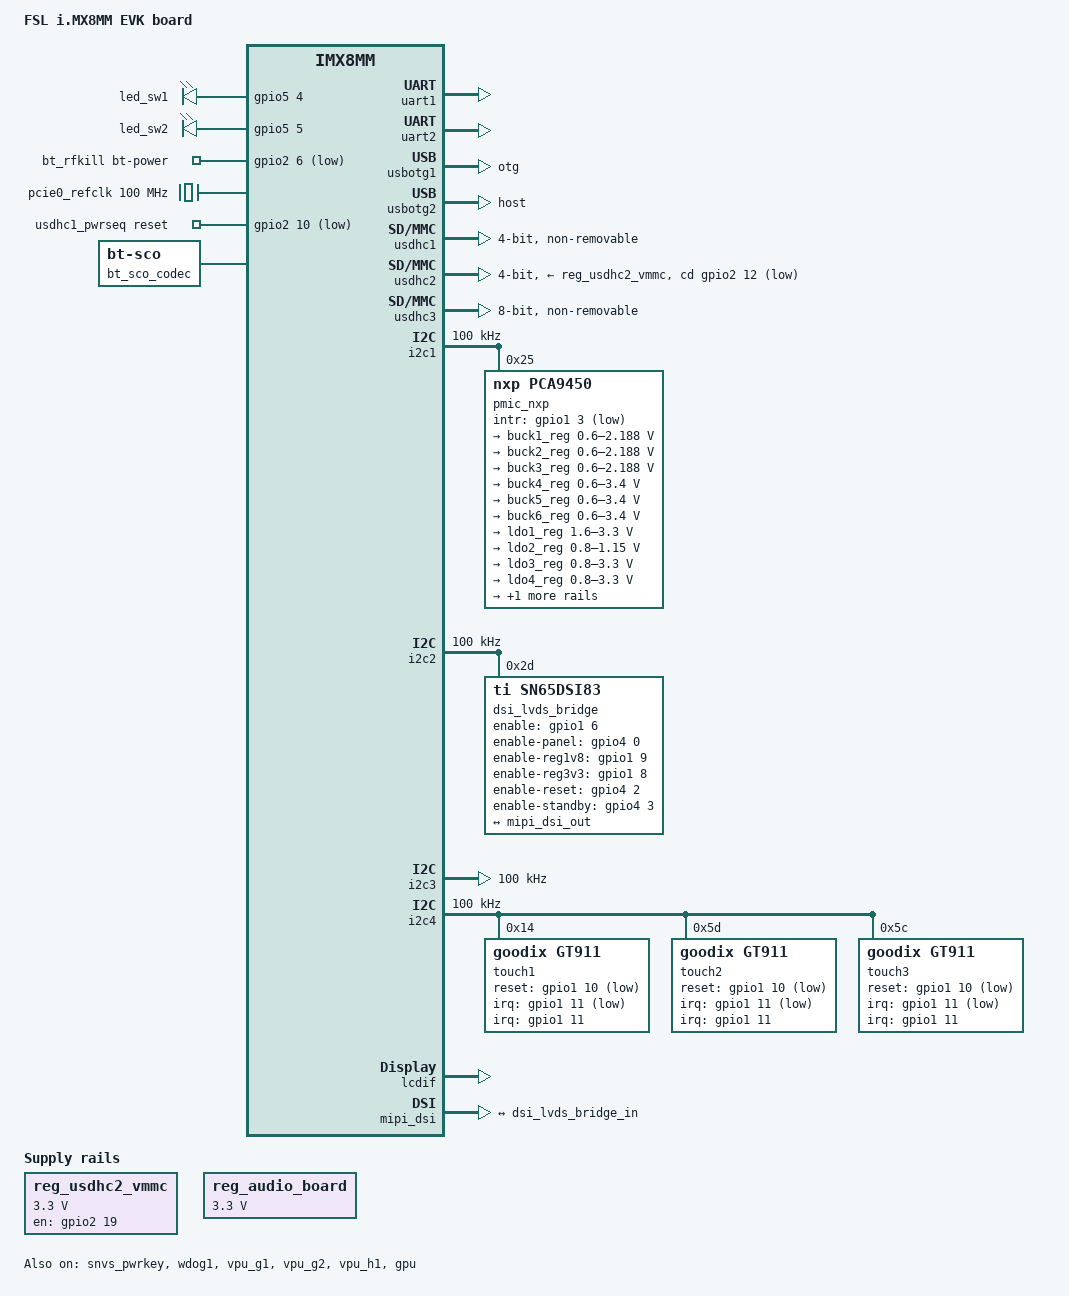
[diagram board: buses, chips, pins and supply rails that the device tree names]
// SPDX-License-Identifier: (GPL-2.0+ OR MIT)
/*
 * Copyright 2019 NXP
 */

/dts-v1/;

/*#include <dt-bindings/usb/pd.h>*/
#include "imx8mm.dtsi"

/ {
	firmware {
		android {
			compatible = "android,firmware";
			/* default emmc node used for GSI */
			boot_devices = "soc@0/soc@0:bus@30800000/30b60000.mmc";
			/* sd card node which used if androidboot.boot_device_root=mmcblk1 */
			boot_devices_mmcblk1 = "soc@0/soc@0:bus@30800000/30b50000.mmc";
			/* emmc node which used if androidboot.boot_device_root=mmcblk2 */
			boot_devices_mmcblk2 = "soc@0/soc@0:bus@30800000/30b60000.mmc";
			fstab {
				compatible = "android,fstab";
				system {
					compatible = "android,system";
					dev = "system";
					type = "ext4";
					mnt_flags = "noatime,errors=panic,ro,barrier=1,inode_readahead_blks=8";
					fsmgr_flags = "wait,slotselect,avb,avb_keys=/avb,logical,first_stage_mount";
				};
				vendor {
					compatible = "android,vendor";
					dev = "vendor";
					type = "ext4";
					mnt_flags = "noatime,errors=panic,ro,barrier=1,inode_readahead_blks=8";
					fsmgr_flags = "wait,slotselect,avb,logical,first_stage_mount";
				};
				product {
					compatible = "android,product";
					dev = "product";
					type = "ext4";
					mnt_flags = "noatime,errors=panic,ro,barrier=1,inode_readahead_blks=8";
					fsmgr_flags = "wait,slotselect,avb,logical,first_stage_mount";
				};
				metadata {
					compatible = "android,metadata";
					dev = "/dev/block/by-name/metadata";
					type = "ext4";
					mnt_flags = "noatime,nosuid,nodev,discard,sync";
					fsmgr_flags = "wait,formattable,first_stage_mount,check";
				};
			};
			vbmeta {
				/*we need use FirstStageMountVBootV2 if we enable avb*/
				compatible = "android,vbmeta";
				/*parts means the partition witch can be mount in first stage*/
				parts = "vbmeta,dtbo,boot,system,vendor,product";
			};
		};
	};
};

/ {
	trusty {
		compatible = "android,trusty-smc-v1";
		ranges;
		#address-cells = <2>;
		#size-cells = <2>;
		trusty-irq {
			compatible = "android,trusty-irq-v1";
			interrupt-templates = <&trusty_ipi 0>;
			interrupt-ranges = < 0 15 0>;
		};
		trusty-virtio {
			compatible = "android,trusty-virtio-v1";
		};
		trusty-log {
			compatible = "android,trusty-log-v1";
		};
	};
	trusty_ipi: interrupt-controller@0 {
		compatible = "android,CustomIPI";
		interrupt-controller;
		#interrupt-cells = <1>;
	};
};

/ {
	model = "FSL i.MX8MM EVK board";
	compatible = "fsl,imx8mm-evk", "fsl,imx8mm";

	reserved-memory {
		#address-cells = <2>;
		#size-cells = <2>;
		ranges;

		rpmsg_reserved: rpmsg@0xb8000000 {
			no-map;
			reg = <0 0xb8000000 0 0x400000>;
		};
		ramoops@0xb7f00000 {
			compatible = "ramoops";
			reg = <0 0xb7f00000 0 0x00100000>;
			record-size     = <0x00020000>;
			console-size    = <0x00020000>;
			ftrace-size     = <0x00020000>;
			pmsg-size       = <0x00020000>;
		};
		pmem_1: pmem@0xb8500000 {
			no-map;
			reg = <0 0xb8500000 0 0x00010000>;
		};
	};
	pmem@0xb8500000 {
		#address-cells = <2>;
		#size-cells = <2>;
		compatible = "pmem-region";
		reg = <0 0xb8500000 0 0x00010000>;
		volatile;
	};

	chosen {
		bootargs = "console=ttymxc0,115200 earlycon=ec_imx6q,0x30860000,115200 maxcpus=1";
		stdout-path = &uart1;
	};

	leds {
		compatible = "gpio-leds";
		pinctrl-names = "default";
		pinctrl-0 = <&pinctrl_gpio_led>;

		/*status {
			label = "status";
			gpios = <&gpio3 16 GPIO_ACTIVE_HIGH>;
			default-state = "on";
		};*/

		led_sw1 {
			label = "led_sw1";
			gpios = <&gpio5 4 0>;
			default-state = "on";
		};

		led_sw2 {
			label = "led_sw2";
			gpios = <&gpio5 5 0>;
			default-state = "on";
		};
	};

	bt_rfkill {
		compatible = "fsl,mxc_bt_rfkill";
		bt-power-gpios = <&gpio2 6 GPIO_ACTIVE_LOW>;
		reset-delay-us = <2000>;
		reset-post-delay-ms = <40>;
		status ="okay";
	};

	pcie0_refclk: pcie0-refclk {
		compatible = "fixed-clock";
		#clock-cells = <0>;
		clock-frequency = <100000000>;
	};

	usdhc1_pwrseq: usdhc1_pwrseq {
		compatible = "mmc-pwrseq-simple";
		pinctrl-names = "default";
		pinctrl-0 = <&pinctrl_usdhc1_gpio>;
		reset-gpios = <&gpio2 10 GPIO_ACTIVE_LOW>;
		off-on-delay-us = <20000>;
		startup-delay-us = <100>;
		enable-active-high;
	};

	reg_usdhc2_vmmc: regulator-usdhc2 {
		compatible = "regulator-fixed";
		pinctrl-names = "default";
		pinctrl-0 = <&pinctrl_reg_usdhc2_vmmc>;
		regulator-name = "VSD_3V3";
		regulator-min-microvolt = <3300000>;
		regulator-max-microvolt = <3300000>;
		gpio = <&gpio2 19 GPIO_ACTIVE_HIGH>;
		off-on-delay-us = <20000>;
		enable-active-high;
	};

	reg_audio_board: regulator-audio-board {
		compatible = "regulator-fixed";
		regulator-name = "EXT_PWREN";
		regulator-min-microvolt = <3300000>;
		regulator-max-microvolt = <3300000>;
		enable-active-high;
		startup-delay-us = <300000>;
		/*gpio = <&pca6416 1 GPIO_ACTIVE_HIGH>;*/
	};

	bt_sco_codec: bt_sco_codec {
		#sound-dai-cells = <1>;
		compatible = "linux,bt-sco";
	};

	sound-bt-sco {
		compatible = "simple-audio-card";
		simple-audio-card,name = "bt-sco-audio";
		simple-audio-card,format = "dsp_a";
		simple-audio-card,bitclock-inversion;
		simple-audio-card,frame-master = <&btcpu>;
		simple-audio-card,bitclock-master = <&btcpu>;

		btcpu: simple-audio-card,cpu {
			sound-dai = <&sai2>;
			dai-tdm-slot-num = <2>;
			dai-tdm-slot-width = <16>;
		};

		simple-audio-card,codec {
			sound-dai = <&bt_sco_codec 1>;
		};
	};

};

&A53_0 {
	cpu-supply = <&buck2_reg>;
};

&fec1 {
	pinctrl-names = "default";
	pinctrl-0 = <&pinctrl_fec1>;
	phy-mode = "rgmii-id";
	phy-handle = <&ethphy0>;
	fsl,magic-packet;
	status = "disabled";

	mdio {
		#address-cells = <1>;
		#size-cells = <0>;

		ethphy0: ethernet-phy@0 {
			compatible = "ethernet-phy-ieee802.3-c22";
			reg = <0>;
			at803x,eee-disabled;
			at803x,vddio-1p8v;
		};
	};
};

&pcie0{
	pinctrl-names = "default";
	pinctrl-0 = <&pinctrl_pcie0>;
	disable-gpio = <&gpio1 5 GPIO_ACTIVE_LOW>;
	reset-gpio = <&gpio4 21 GPIO_ACTIVE_LOW>;
	clocks = <&clk IMX8MM_CLK_PCIE1_ROOT>,
		 <&clk IMX8MM_CLK_PCIE1_AUX>,
		 <&clk IMX8MM_CLK_PCIE1_PHY>,
		 <&pcie0_refclk>;
	clock-names = "pcie", "pcie_aux", "pcie_phy", "pcie_bus";
	ext_osc = <1>;
	status = "disabled";
};

&pcie0_ep{
	pinctrl-names = "default";
	pinctrl-0 = <&pinctrl_pcie0>;
	clocks = <&clk IMX8MM_CLK_PCIE1_ROOT>,
		 <&clk IMX8MM_CLK_PCIE1_AUX>,
		 <&clk IMX8MM_CLK_PCIE1_PHY>,
		 <&pcie0_refclk>;
	clock-names = "pcie", "pcie_aux", "pcie_phy", "pcie_bus";
	ext_osc = <1>;
	status = "disabled";
};

&sai2 {
	#sound-dai-cells = <0>;
	pinctrl-names = "default";
	pinctrl-0 = <&pinctrl_sai2>;
	assigned-clocks = <&clk IMX8MM_CLK_SAI2>;
	assigned-clock-parents = <&clk IMX8MM_AUDIO_PLL1_OUT>;
	assigned-clock-rates = <24576000>;
	status = "disabled";
};

&snvs_pwrkey {
	status = "okay";
};

&uart1 { /* console */
	pinctrl-names = "default";
	pinctrl-0 = <&pinctrl_uart1>;
	status = "okay";
};

&uart2 { /* BT */
	pinctrl-names = "default";
	pinctrl-0 = <&pinctrl_uart2>;
	assigned-clocks = <&clk IMX8MM_CLK_UART2>;
	assigned-clock-parents = <&clk IMX8MM_SYS_PLL1_80M>;
	fsl,uart-has-rtscts;
	status = "okay";
};

&uart3 {
	pinctrl-names = "default";
	pinctrl-0 = <&pinctrl_uart3>;
	assigned-clocks = <&clk IMX8MM_CLK_UART3>;
	assigned-clock-parents = <&clk IMX8MM_SYS_PLL1_80M>;
	fsl,uart-has-rtscts;
	status = "disabled";
};

&usbotg1 {
	dr_mode = "otg";
	pinctrl-names = "default";
	pinctrl-0 = <&pinctrl_usb1>;
	/*picophy,pre-emp-curr-control = <3>;
	picophy,dc-vol-level-adjust = <7>;*/
	status = "okay";
};

&usbotg2 {
	dr_mode = "host";
	pinctrl-names = "default";
	pinctrl-0 = <&pinctrl_usb2>;
	status = "okay";
};

&usdhc1 {
	pinctrl-names = "default", "state_100mhz", "state_200mhz";
	pinctrl-0 = <&pinctrl_usdhc1>, <&pinctrl_wlan>;
	pinctrl-1 = <&pinctrl_usdhc1_100mhz>, <&pinctrl_wlan>;
	pinctrl-2 = <&pinctrl_usdhc1_200mhz>, <&pinctrl_wlan>;
	bus-width = <4>;
	cap-power-off-card;
	pm-ignore-notify;
	keep-power-in-suspend;
	non-removable;
	mmc-pwrseq = <&usdhc1_pwrseq>;
	status = "okay";
};

&usdhc2 {
	pinctrl-names = "default", "state_100mhz", "state_200mhz";
	pinctrl-0 = <&pinctrl_usdhc2>, <&pinctrl_usdhc2_gpio>;
	pinctrl-1 = <&pinctrl_usdhc2_100mhz>, <&pinctrl_usdhc2_gpio>;
	pinctrl-2 = <&pinctrl_usdhc2_200mhz>, <&pinctrl_usdhc2_gpio>;
	cd-gpios = <&gpio2 12 GPIO_ACTIVE_LOW>;
	bus-width = <4>;
	vmmc-supply = <&reg_usdhc2_vmmc>;
	status = "okay";
};

&usdhc3 {
	pinctrl-names = "default", "state_100mhz", "state_200mhz";
	pinctrl-0 = <&pinctrl_usdhc3>;
	pinctrl-1 = <&pinctrl_usdhc3_100mhz>;
	pinctrl-2 = <&pinctrl_usdhc3_200mhz>;
	bus-width = <8>;
	non-removable;
	status = "okay";
};

&wdog1 {
	pinctrl-names = "default";
	pinctrl-0 = <&pinctrl_wdog>;
	fsl,ext-reset-output;
	status = "okay";
};

&i2c1 {
	clock-frequency = <100000>;
	pinctrl-names = "default";
	pinctrl-0 = <&pinctrl_i2c1>;
	status = "okay";

	pmic_nxp: pca9450@25 {
		reg = <0x25>;
		compatible = "nxp,pca9450";
		/* PMIC PCA9450 PMIC_nINT GPIO1_IO3 */
		pinctrl-0 = <&pinctrl_pmic>;
		gpio_intr = <&gpio1 3 GPIO_ACTIVE_LOW>;

		regulators {
			#address-cells = <1>;
			#size-cells = <0>;

			pca9450,pmic-buck1-uses-i2c-dvs;
			/* Run/Standby voltage */
			pca9450,pmic-buck1-dvs-voltage = <850000>, <800000>;

			buck1_reg: regulator@0 {
				reg = <0>;
				regulator-compatible = "buck1";
				regulator-min-microvolt = <600000>;
				regulator-max-microvolt = <2187500>;
				regulator-boot-on;
				regulator-always-on;
				regulator-ramp-delay = <3125>;
			};

			buck2_reg: regulator@1 {
				reg = <1>;
				regulator-compatible = "buck2";
				regulator-min-microvolt = <600000>;
				regulator-max-microvolt = <2187500>;
				regulator-boot-on;
				regulator-always-on;
				regulator-ramp-delay = <3125>;
			};

			buck3_reg: regulator@2 {
				reg = <2>;
				regulator-compatible = "buck3";
				regulator-min-microvolt = <600000>;
				regulator-max-microvolt = <2187500>;
				regulator-boot-on;
				regulator-always-on;
			};

			buck4_reg: regulator@3 {
				reg = <3>;
				regulator-compatible = "buck4";
				regulator-min-microvolt = <600000>;
				regulator-max-microvolt = <3400000>;
				regulator-boot-on;
				regulator-always-on;
			};

			buck5_reg: regulator@4 {
				reg = <4>;
				regulator-compatible = "buck5";
				regulator-min-microvolt = <600000>;
				regulator-max-microvolt = <3400000>;
				regulator-boot-on;
				regulator-always-on;
			};

			buck6_reg: regulator@5 {
				reg = <5>;
				regulator-compatible = "buck6";
				regulator-min-microvolt = <600000>;
				regulator-max-microvolt = <3400000>;
				regulator-boot-on;
				regulator-always-on;
			};

			ldo1_reg: regulator@6 {
				reg = <6>;
				regulator-compatible = "ldo1";
				regulator-min-microvolt = <1600000>;
				regulator-max-microvolt = <3300000>;
				regulator-boot-on;
				regulator-always-on;
			};

			ldo2_reg: regulator@7 {
				reg = <7>;
				regulator-compatible = "ldo2";
				regulator-min-microvolt = <800000>;
				regulator-max-microvolt = <1150000>;
				regulator-boot-on;
				regulator-always-on;
			};

			ldo3_reg: regulator@8 {
				reg = <8>;
				regulator-compatible = "ldo3";
				regulator-min-microvolt = <800000>;
				regulator-max-microvolt = <3300000>;
				regulator-boot-on;
				regulator-always-on;
			};

			ldo4_reg: regulator@9 {
				reg = <9>;
				regulator-compatible = "ldo4";
				regulator-min-microvolt = <800000>;
				regulator-max-microvolt = <3300000>;
				regulator-boot-on;
				regulator-always-on;
			};

			ldo5_reg: regulator@10 {
				reg = <10>;
				regulator-compatible = "ldo5";
				regulator-min-microvolt = <1800000>;
				regulator-max-microvolt = <3300000>;
			};
		};
	};
};

&i2c2 {
	clock-frequency = <100000>;
	pinctrl-names = "default";
	pinctrl-0 = <&pinctrl_i2c2>;
	status = "okay";

        dsi_lvds_bridge: sn65dsi83@2d {
                compatible = "ti,sn65dsi83";
                reg = <0x2d>;
                ti,dsi-lanes = <4>;
                ti,lvds-format = <2>;
                ti,lvds-bpp = <24>;
                ti,width-mm = <152>;
                ti,height-mm = <85>;
		//ti,lvds-channels = <1>;
                enable-gpios = <&gpio1 6 GPIO_ACTIVE_HIGH>;
                enable-panel-gpios = <&gpio4 0 GPIO_ACTIVE_HIGH>;
                enable-reg1v8-gpios = <&gpio1 9 GPIO_ACTIVE_HIGH>;
                enable-reg3v3-gpios = <&gpio1 8 GPIO_ACTIVE_HIGH>;
                enable-reset-gpios = <&gpio4 2 GPIO_ACTIVE_HIGH>;
                enable-standby-gpios = <&gpio4 3 GPIO_ACTIVE_HIGH>;
                pinctrl-names = "default";
                pinctrl-0 = <&pinctrl_lvds>;
                status = "okay";

                display-timings {
                        lvds {
                                clock-frequency = <51200000>;
                                hactive = <1024>;
                                vactive = <600>;
                                hback-porch = <160>;
                                hfront-porch = <160>;
                                vback-porch = <23>;
                                vfront-porch = <12>;
                                hsync-len = <90>;
                                vsync-len = <10>;
                                hsync-active = <0>;
                                vsync-active = <0>;
                                de-active = <1>;
                                pixelclk-active = <0>;
                        };
                };

                port {
                        dsi_lvds_bridge_in: endpoint {
                                remote-endpoint = <&mipi_dsi_out>;
                        };
                };
	};
};

&i2c3 {
	clock-frequency = <100000>;
	pinctrl-names = "default";
	pinctrl-0 = <&pinctrl_i2c3>;
	status = "okay";

};

&i2c4 {
	clock-frequency = <100000>;
	pinctrl-names = "default";
	pinctrl-0 = <&pinctrl_i2c4>;
	status = "okay";

	touch1: gt911@14 {
		compatible = "goodix,gt911";
		reg = <0x14>;
		interrupt-parent = <&gpio1>;
		interrupts = <11 GPIO_ACTIVE_LOW>;
		reset-gpios = <&gpio1 10 GPIO_ACTIVE_LOW>;
		irq-gpios = <&gpio1 11 GPIO_ACTIVE_LOW>;
		status = "okay";
	};

	touch2: gt911@5d {
		compatible = "goodix,gt911";
		reg = <0x5d>;
		interrupt-parent = <&gpio1>;
		interrupts = <11 GPIO_ACTIVE_LOW>;
		reset-gpios = <&gpio1 10 GPIO_ACTIVE_LOW>;
		irq-gpios = <&gpio1 11 GPIO_ACTIVE_LOW>;
		status = "okay";
	};

	touch3: gt911@5c {
		compatible = "goodix,gt911";
		reg = <0x5c>;
		interrupt-parent = <&gpio1>;
		interrupts = <11 GPIO_ACTIVE_LOW>;
		reset-gpios = <&gpio1 10 GPIO_ACTIVE_LOW>;
		irq-gpios = <&gpio1 11 GPIO_ACTIVE_LOW>;
		status = "okay";
	};
};

&iomuxc {
	pinctrl-names = "default";

	pinctrl_fec1: fec1grp {
		fsl,pins = <
			MX8MM_IOMUXC_ENET_MDC_ENET1_MDC			0x3
			MX8MM_IOMUXC_ENET_MDIO_ENET1_MDIO		0x3
			MX8MM_IOMUXC_ENET_TD3_ENET1_RGMII_TD3		0x100
			MX8MM_IOMUXC_ENET_TD2_ENET1_RGMII_TD2		0x100
			MX8MM_IOMUXC_ENET_TD1_ENET1_RGMII_TD1		0x100
			MX8MM_IOMUXC_ENET_TD0_ENET1_RGMII_TD0		0x100
			MX8MM_IOMUXC_ENET_RD3_ENET1_RGMII_RD3		0x91
			MX8MM_IOMUXC_ENET_RD2_ENET1_RGMII_RD2		0x91
			MX8MM_IOMUXC_ENET_RD1_ENET1_RGMII_RD1		0x91
			MX8MM_IOMUXC_ENET_RD0_ENET1_RGMII_RD0		0x91
			MX8MM_IOMUXC_ENET_TXC_ENET1_RGMII_TXC		0x100
			MX8MM_IOMUXC_ENET_RXC_ENET1_RGMII_RXC		0x91
			MX8MM_IOMUXC_ENET_RX_CTL_ENET1_RGMII_RX_CTL	0x91
			MX8MM_IOMUXC_ENET_TX_CTL_ENET1_RGMII_TX_CTL	0x100
			MX8MM_IOMUXC_SAI1_RXD6_GPIO4_IO8		0x19
		>;
	};

	pinctrl_gpio_led: gpioledgrp {
		fsl,pins = <
			MX8MM_IOMUXC_SPDIF_RX_GPIO5_IO4			0x19
			MX8MM_IOMUXC_SPDIF_EXT_CLK_GPIO5_IO5		0x19
		>;
	};

	pinctrl_i2c1: i2c1grp {
		fsl,pins = <
			MX8MM_IOMUXC_I2C1_SCL_I2C1_SCL			0x400001c3
			MX8MM_IOMUXC_I2C1_SDA_I2C1_SDA			0x400001c3
		>;
	};

	pinctrl_i2c2: i2c2grp {
		fsl,pins = <
			MX8MM_IOMUXC_I2C2_SCL_I2C2_SCL			0x400001c3
			MX8MM_IOMUXC_I2C2_SDA_I2C2_SDA			0x400001c3
		>;
	};

	pinctrl_i2c3: i2c3grp {
		fsl,pins = <
			MX8MM_IOMUXC_I2C3_SCL_I2C3_SCL			0x400001c3
			MX8MM_IOMUXC_I2C3_SDA_I2C3_SDA			0x400001c3
		>;
	};

	pinctrl_i2c4: i2c4grp {
		fsl,pins = <
			MX8MM_IOMUXC_I2C4_SCL_I2C4_SCL                  0x400001c3
			MX8MM_IOMUXC_I2C4_SDA_I2C4_SDA                  0x400001c3
			MX8MM_IOMUXC_GPIO1_IO10_GPIO1_IO10              0x41	
			MX8MM_IOMUXC_GPIO1_IO11_GPIO1_IO11              0x41
		>;
	};

	pinctrl_pcie0: pcie0grp {
		fsl,pins = <
			MX8MM_IOMUXC_GPIO1_IO00_GPIO1_IO0		0x41
		>;
	};

	pinctrl_pmic: pmicirq {
		fsl,pins = <
			MX8MM_IOMUXC_GPIO1_IO03_GPIO1_IO3		0x41
		>;
	};

	pinctrl_reg_usdhc2_vmmc: regusdhc2vmmc {
		fsl,pins = <
			MX8MM_IOMUXC_SD2_RESET_B_GPIO2_IO19	0x41
		>;
	};

	pinctrl_sai2: sai2grp {
		fsl,pins = <
			MX8MM_IOMUXC_SAI2_TXC_SAI2_TX_BCLK      0xd6
			MX8MM_IOMUXC_SAI2_TXFS_SAI2_TX_SYNC     0xd6
			MX8MM_IOMUXC_SAI2_TXD0_SAI2_TX_DATA0    0xd6
			MX8MM_IOMUXC_SAI2_RXD0_SAI2_RX_DATA0    0xd6
		>;
	};

	pinctrl_uart1: uart1grp {
		fsl,pins = <
			MX8MM_IOMUXC_UART1_RXD_UART1_DCE_RX		0x140
			MX8MM_IOMUXC_UART1_TXD_UART1_DCE_TX		0x140
		>;
	};

	pinctrl_uart2: uart2grp {
		fsl,pins = <
			MX8MM_IOMUXC_SAI3_TXC_UART2_DCE_TX	0x140
			MX8MM_IOMUXC_SAI3_TXFS_UART2_DCE_RX	0x140
			MX8MM_IOMUXC_SAI3_RXC_UART2_DCE_CTS_B	0x140
			MX8MM_IOMUXC_SAI3_RXD_UART2_DCE_RTS_B	0x140
			MX8MM_IOMUXC_SD1_DATA4_GPIO2_IO6	0x19
		>;
	};

	pinctrl_uart3: uart3grp {
		fsl,pins = <
			MX8MM_IOMUXC_UART3_RXD_UART3_DCE_RX		0x140
			MX8MM_IOMUXC_UART3_TXD_UART3_DCE_TX		0x140
		>;
	};

	pinctrl_lvds: lvdsgrp {
	      fsl,pins = <
		      MX8MM_IOMUXC_GPIO1_IO06_GPIO1_IO6       0x19
		      MX8MM_IOMUXC_SAI1_RXFS_GPIO4_IO0	      0x19		
		      MX8MM_IOMUXC_GPIO1_IO09_GPIO1_IO9       0x19
		      MX8MM_IOMUXC_GPIO1_IO08_GPIO1_IO8	      0x19		
		      MX8MM_IOMUXC_SAI1_RXD0_GPIO4_IO2        0x19
		      MX8MM_IOMUXC_SAI1_RXD1_GPIO4_IO3 	      0x19
	      >;
      	};

	pinctrl_uart4: uart4grp {
		fsl,pins = <
			MX8MM_IOMUXC_UART4_RXD_UART4_DCE_RX             0x140
			MX8MM_IOMUXC_UART4_TXD_UART4_DCE_TX             0x140
		>;
	};

	pinctrl_usb1: usb1grp {
		fsl,pins = <
			MX8MM_IOMUXC_GPIO1_IO12_USB1_OTG_PWR            0x140
			MX8MM_IOMUXC_GPIO1_IO13_USB1_OTG_OC             0x140
		>;
	};

        pinctrl_usb2: usb2grp {
		fsl,pins = <
			MX8MM_IOMUXC_GPIO1_IO14_USB2_OTG_PWR            0x140
			MX8MM_IOMUXC_GPIO1_IO15_USB2_OTG_OC             0x140
		>;
	};
	pinctrl_usdhc1_gpio: usdhc1grpgpio {
		fsl,pins = <
			MX8MM_IOMUXC_SD1_RESET_B_GPIO2_IO10	0x41
		>;
	};

	pinctrl_usdhc1: usdhc1grp {
		fsl,pins = <
			MX8MM_IOMUXC_SD1_CLK_USDHC1_CLK		0x190
			MX8MM_IOMUXC_SD1_CMD_USDHC1_CMD		0x1d0
			MX8MM_IOMUXC_SD1_DATA0_USDHC1_DATA0	0x1d0
			MX8MM_IOMUXC_SD1_DATA1_USDHC1_DATA1	0x1d0
			MX8MM_IOMUXC_SD1_DATA2_USDHC1_DATA2	0x1d0
			MX8MM_IOMUXC_SD1_DATA3_USDHC1_DATA3	0x1d0
		>;
	};

	pinctrl_usdhc1_100mhz: usdhc1grp100mhz {
		fsl,pins = <
			MX8MM_IOMUXC_SD1_CLK_USDHC1_CLK		0x194
			MX8MM_IOMUXC_SD1_CMD_USDHC1_CMD		0x1d4
			MX8MM_IOMUXC_SD1_DATA0_USDHC1_DATA0	0x1d4
			MX8MM_IOMUXC_SD1_DATA1_USDHC1_DATA1	0x1d4
			MX8MM_IOMUXC_SD1_DATA2_USDHC1_DATA2	0x1d4
			MX8MM_IOMUXC_SD1_DATA3_USDHC1_DATA3	0x1d4
		>;
	};

	pinctrl_usdhc1_200mhz: usdhc1grp200mhz {
		fsl,pins = <
			MX8MM_IOMUXC_SD1_CLK_USDHC1_CLK		0x196
			MX8MM_IOMUXC_SD1_CMD_USDHC1_CMD		0x1d6
			MX8MM_IOMUXC_SD1_DATA0_USDHC1_DATA0	0x1d6
			MX8MM_IOMUXC_SD1_DATA1_USDHC1_DATA1	0x1d6
			MX8MM_IOMUXC_SD1_DATA2_USDHC1_DATA2	0x1d6
			MX8MM_IOMUXC_SD1_DATA3_USDHC1_DATA3	0x1d6
		>;
	};

	pinctrl_usdhc2_gpio: usdhc2grpgpio {
		fsl,pins = <
			MX8MM_IOMUXC_SD2_CD_B_GPIO2_IO12	0x1c4
		>;
	};

	pinctrl_usdhc2: usdhc2grp {
		fsl,pins = <
			MX8MM_IOMUXC_SD2_CLK_USDHC2_CLK		0x190
			MX8MM_IOMUXC_SD2_CMD_USDHC2_CMD		0x1d0
			MX8MM_IOMUXC_SD2_DATA0_USDHC2_DATA0	0x1d0
			MX8MM_IOMUXC_SD2_DATA1_USDHC2_DATA1	0x1d0
			MX8MM_IOMUXC_SD2_DATA2_USDHC2_DATA2	0x1d0
			MX8MM_IOMUXC_SD2_DATA3_USDHC2_DATA3	0x1d0
			MX8MM_IOMUXC_GPIO1_IO04_USDHC2_VSELECT	0x1d0
		>;
	};

	pinctrl_usdhc2_100mhz: usdhc2grp100mhz {
		fsl,pins = <
			MX8MM_IOMUXC_SD2_CLK_USDHC2_CLK		0x194
			MX8MM_IOMUXC_SD2_CMD_USDHC2_CMD		0x1d4
			MX8MM_IOMUXC_SD2_DATA0_USDHC2_DATA0	0x1d4
			MX8MM_IOMUXC_SD2_DATA1_USDHC2_DATA1	0x1d4
			MX8MM_IOMUXC_SD2_DATA2_USDHC2_DATA2	0x1d4
			MX8MM_IOMUXC_SD2_DATA3_USDHC2_DATA3	0x1d4
			MX8MM_IOMUXC_GPIO1_IO04_USDHC2_VSELECT	0x1d0
		>;
	};

	pinctrl_usdhc2_200mhz: usdhc2grp200mhz {
		fsl,pins = <
			MX8MM_IOMUXC_SD2_CLK_USDHC2_CLK		0x196
			MX8MM_IOMUXC_SD2_CMD_USDHC2_CMD		0x1d6
			MX8MM_IOMUXC_SD2_DATA0_USDHC2_DATA0	0x1d6
			MX8MM_IOMUXC_SD2_DATA1_USDHC2_DATA1	0x1d6
			MX8MM_IOMUXC_SD2_DATA2_USDHC2_DATA2	0x1d6
			MX8MM_IOMUXC_SD2_DATA3_USDHC2_DATA3	0x1d6
			MX8MM_IOMUXC_GPIO1_IO04_USDHC2_VSELECT	0x1d0
		>;
	};

	pinctrl_usdhc3: usdhc3grp {
		fsl,pins = <
			MX8MM_IOMUXC_NAND_WE_B_USDHC3_CLK		0x190
			MX8MM_IOMUXC_NAND_WP_B_USDHC3_CMD		0x1d0
			MX8MM_IOMUXC_NAND_DATA04_USDHC3_DATA0		0x1d0
			MX8MM_IOMUXC_NAND_DATA05_USDHC3_DATA1		0x1d0
			MX8MM_IOMUXC_NAND_DATA06_USDHC3_DATA2		0x1d0
			MX8MM_IOMUXC_NAND_DATA07_USDHC3_DATA3		0x1d0
			MX8MM_IOMUXC_NAND_RE_B_USDHC3_DATA4		0x1d0
			MX8MM_IOMUXC_NAND_CE2_B_USDHC3_DATA5		0x1d0
			MX8MM_IOMUXC_NAND_CE3_B_USDHC3_DATA6		0x1d0
			MX8MM_IOMUXC_NAND_CLE_USDHC3_DATA7		0x1d0
			MX8MM_IOMUXC_NAND_CE1_B_USDHC3_STROBE 		0x190
		>;
	};

	pinctrl_usdhc3_100mhz: usdhc3grp100mhz {
		fsl,pins = <
			MX8MM_IOMUXC_NAND_WE_B_USDHC3_CLK		0x194
			MX8MM_IOMUXC_NAND_WP_B_USDHC3_CMD		0x1d4
			MX8MM_IOMUXC_NAND_DATA04_USDHC3_DATA0		0x1d4
			MX8MM_IOMUXC_NAND_DATA05_USDHC3_DATA1		0x1d4
			MX8MM_IOMUXC_NAND_DATA06_USDHC3_DATA2		0x1d4
			MX8MM_IOMUXC_NAND_DATA07_USDHC3_DATA3		0x1d4
			MX8MM_IOMUXC_NAND_RE_B_USDHC3_DATA4		0x1d4
			MX8MM_IOMUXC_NAND_CE2_B_USDHC3_DATA5		0x1d4
			MX8MM_IOMUXC_NAND_CE3_B_USDHC3_DATA6		0x1d4
			MX8MM_IOMUXC_NAND_CLE_USDHC3_DATA7		0x1d4
			MX8MM_IOMUXC_NAND_CE1_B_USDHC3_STROBE 		0x194
		>;
	};

	pinctrl_usdhc3_200mhz: usdhc3grp200mhz {
		fsl,pins = <
			MX8MM_IOMUXC_NAND_WE_B_USDHC3_CLK		0x196
			MX8MM_IOMUXC_NAND_WP_B_USDHC3_CMD		0x1d6
			MX8MM_IOMUXC_NAND_DATA04_USDHC3_DATA0		0x1d6
			MX8MM_IOMUXC_NAND_DATA05_USDHC3_DATA1		0x1d6
			MX8MM_IOMUXC_NAND_DATA06_USDHC3_DATA2		0x1d6
			MX8MM_IOMUXC_NAND_DATA07_USDHC3_DATA3		0x1d6
			MX8MM_IOMUXC_NAND_RE_B_USDHC3_DATA4		0x1d6
			MX8MM_IOMUXC_NAND_CE2_B_USDHC3_DATA5		0x1d6
			MX8MM_IOMUXC_NAND_CE3_B_USDHC3_DATA6		0x1d6
			MX8MM_IOMUXC_NAND_CLE_USDHC3_DATA7		0x1d6
			MX8MM_IOMUXC_NAND_CE1_B_USDHC3_STROBE 		0x196
		>;
	};

	pinctrl_wlan: wlangrp {
		fsl,pins = <
			MX8MM_IOMUXC_GPIO1_IO00_ANAMIX_REF_CLK_32K	0x141
			MX8MM_IOMUXC_SD1_DATA7_GPIO2_IO9		0x111
		>;
	};

	pinctrl_mipi_dsi_en: mipi_dsi_en {
		fsl,pins = <
			MX8MM_IOMUXC_GPIO1_IO08_GPIO1_IO8               0x16
		>;
	};

	pinctrl_wdog: wdoggrp {
		fsl,pins = <
			MX8MM_IOMUXC_GPIO1_IO02_WDOG1_WDOG_B	0xc6
		>;
	};
};

&lcdif {
	status = "okay";
};

&mipi_dsi {
	status = "okay";
	
        port@1 {
                mipi_dsi_out: endpoint {
                        remote-endpoint = <&dsi_lvds_bridge_in>;
			attach-bridge;
                };
        };
};

&mipi_csi_1 {
	#address-cells = <1>;
	#size-cells = <0>;
	status = "disabled";
};

&vpu_g1 {
	status = "okay";
};

&vpu_g2 {
	status = "okay";
};

&vpu_h1 {
	status = "okay";
};

&gpu {
	status = "okay";
};
